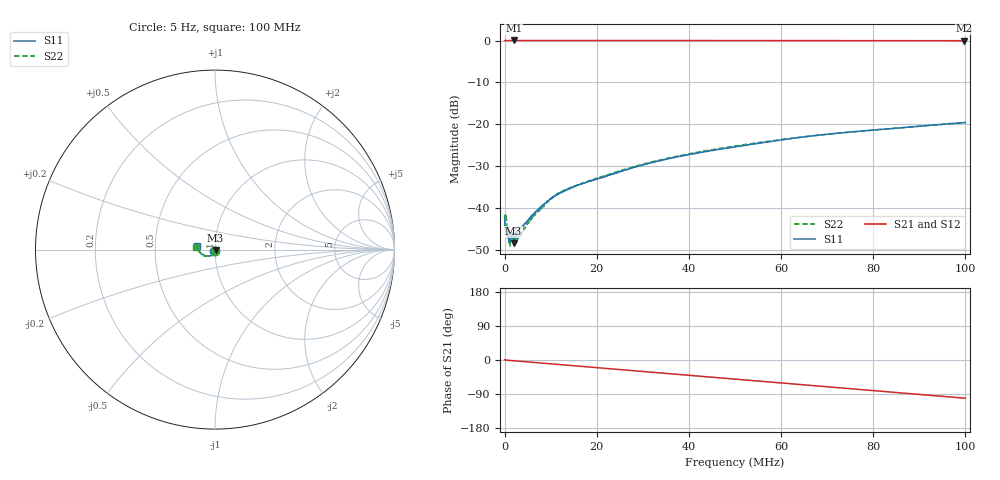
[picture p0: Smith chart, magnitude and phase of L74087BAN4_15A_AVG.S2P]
!Agilent Technologies,E5061B,MY49102235,A.02.00
!Date: Tue Jul 11 16:11:06 2023
!Data & Calibration Information:
!Freq	S11:SOLT2(ON)	S21:SOLT2(ON)	S12:SOLT2(ON)	S22:SOLT2(ON)
# Hz S RI R 50
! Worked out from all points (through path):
!   1600 points, 5 Hz to 100 MHz, reference 50 ohm
!   highest |S21| = 0.02 dB at 2.001 MHz (marker M1); lowest = 0.0 dB at 99.75 MHz (marker M2)
!   group delay of S21, straight-line fit = 2.8 ns
!   lowest |S11| = -48.5 dB at 1.939 MHz (marker M3), VSWR 1.01, Z = 50.3 - j0.214 ohm
!   |S11| at or under -10 dB: start of sweep to end of sweep
!   |S22| runs from -49.2 to -19.6 dB; largest |S21 - S12| = 0.0025
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5  -0.00522 -0.00565  1.002 0.00806  1 0.0102  -0.00152 -0.00756
437778.6  0.00515 -0.00054  1.001 -0.00542  1.001 -0.0062  0.00664 -0.00216
625395.8  0.0051 -0.000568  1.002 -0.0105  1.002 -0.0101  0.0061 -0.000936
938091.3  0.00429 -0.000311  1.001 -0.015  1.001 -0.0147  0.00586 -0.000893
1500943  0.00433 -0.00235  1.001 -0.025  1.001 -0.0249  0.003 -0.00351
1938717  0.0031 -0.00212  1.002 -0.0336  1.001 -0.0333  0.00341 -0.00187
2001256  0.003 -0.00259  1.002 -0.0351  1.001 -0.0349  0.00315 -0.00233
2376490  0.0033 -0.00274  0.9998 -0.0415  1 -0.0418  0.00395 -0.0024
3252037  0.00423 -0.00384  0.9994 -0.057  0.9992 -0.0569  0.00316 -0.00335
6003757  0.00337 -0.00722  0.9953 -0.1053  0.9955 -0.1051  0.00294 -0.00706
9505946  0.00163 -0.012  0.987 -0.1668  0.9872 -0.1666  0.00104 -0.012
1.156974e7  0.000226 -0.0147  0.9804 -0.2024  0.9801 -0.2022  -0.00066 -0.0149
1.669794e7  -0.00336 -0.0191  0.9575 -0.29  0.9574 -0.2897  -0.00374 -0.0192
2.582865e7  -0.00997 -0.026  0.8989 -0.4396  0.8986 -0.4395  -0.00793 -0.0274
3.333334e7  -0.018 -0.0315  0.8325 -0.5542  0.8324 -0.5539  -0.0168 -0.0328
4.033771e7  -0.0266 -0.0349  0.7577 -0.6521  0.7577 -0.6519  -0.0263 -0.0361
5.003127e7  -0.0395 -0.0362  0.6356 -0.7714  0.6355 -0.7711  -0.0399 -0.0375
6.672921e7  -0.0662 -0.03  0.3839 -0.9212  0.3842 -0.9213  -0.0655 -0.0308
7.53596e7  -0.0782 -0.0212  0.24 -0.968  0.2401 -0.968  -0.0777 -0.0225
8.33646e7  -0.0875 -0.0097  0.1017 -0.9916  0.1016 -0.9917  -0.0873 -0.0119
9.974984e7  -0.1028 0.0195  -0.1844 -0.9776  -0.1843 -0.9779  -0.1028 0.0165
1e8  -0.1029 0.0199  -0.1887 -0.977  -0.1887 -0.9771  -0.1032 0.0171
